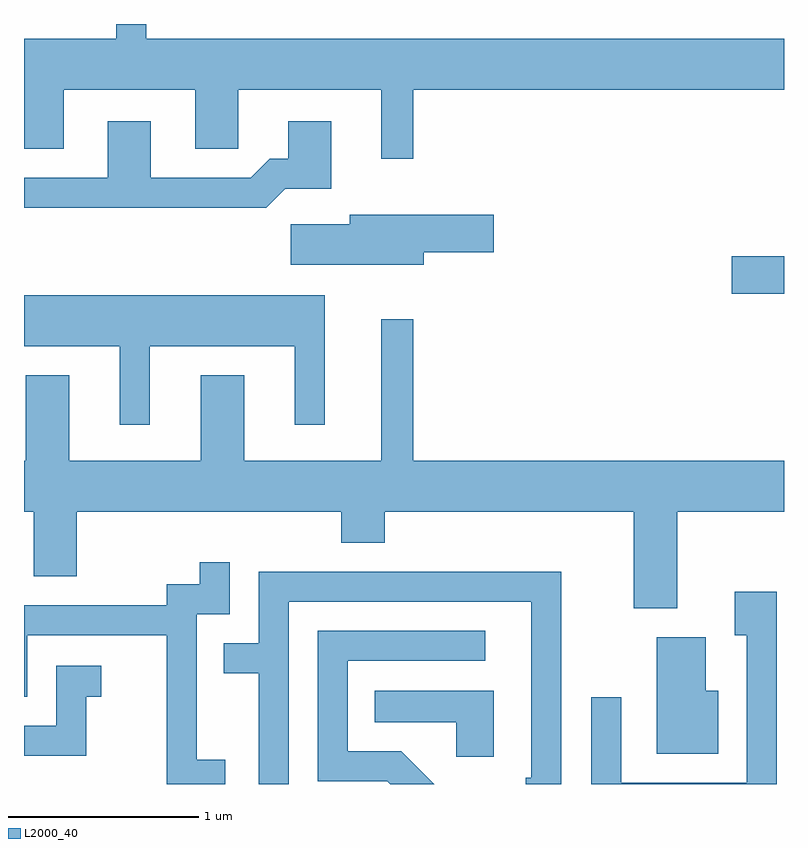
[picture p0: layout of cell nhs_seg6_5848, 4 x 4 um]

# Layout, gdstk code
import gdstk
lib = gdstk.Library(unit=1e-6, precision=1e-09)
def R(c, l, rs):  # rectangles x0, y0, x1, y1
    for r in rs: c.add(gdstk.rectangle(r[:2], r[2:], *l))
def P(c, l, *ps):  # polygons
    for p in ps: c.add(gdstk.Polygon(p, *l))
L2000_40 = (2000, 40)

nhs_seg6_5848 = lib.new_cell('nhs_seg6_5848')
R(nhs_seg6_5848, L2000_40, [(367.336,1546.741,367.611,1546.939)])
P(nhs_seg6_5848, L2000_40, [(365.659,1547.816),(367.611,1547.816),(367.611,1548.084),(364.254,1548.084),(364.254,1548.162),(364.096,1548.162),(364.096,1548.084),(363.611,1548.084),(363.611,1547.506),(363.819,1547.506),(363.819,1547.816),(364.511,1547.816),(364.511,1547.506),(364.739,1547.506),(364.739,1547.816),(365.491,1547.816),(365.491,1547.453),(365.659,1547.453)],
  [(364.987,1547.296),(365.229,1547.296),(365.229,1547.649),(365.001,1547.649),(365.001,1547.454),(364.904,1547.454),(364.804,1547.354),(364.279,1547.354),(364.279,1547.649),(364.051,1547.649),(364.051,1547.354),(363.611,1547.354),(363.611,1547.196),(364.887,1547.196)],
  [(365.714,1546.961),(366.084,1546.961),(366.084,1547.159),(365.326,1547.159),(365.326,1547.109),(365.016,1547.109),(365.016,1546.896),(365.714,1546.896)],
  [(364.274,1546.466),(365.036,1546.466),(365.036,1546.053),(365.194,1546.053),(365.194,1546.734),(363.611,1546.734),(363.611,1546.466),(364.116,1546.466),(364.116,1546.053),(364.274,1546.053)],
  [(367.049,1545.596),(367.611,1545.596),(367.611,1545.864),(365.659,1545.864),(365.659,1546.608),(365.491,1546.608),(365.491,1545.864),(364.769,1545.864),(364.769,1546.314),(364.541,1546.314),(364.541,1545.864),(363.849,1545.864),(363.849,1546.314),(363.621,1546.314),(363.621,1545.864),(363.611,1545.864),(363.611,1545.596),(363.661,1545.596),(363.661,1545.256),(363.889,1545.256),(363.889,1545.596),(365.281,1545.596),(365.281,1545.431),(365.509,1545.431),(365.509,1545.596),(366.821,1545.596),(366.821,1545.086),(367.049,1545.086)],
  [(364.669,1544.289),(364.519,1544.289),(364.519,1545.056),(364.694,1545.056),(364.694,1545.328),(364.536,1545.328),(364.536,1545.214),(364.361,1545.214),(364.361,1545.104),(363.611,1545.104),(363.611,1544.621),(363.629,1544.621),(363.629,1544.946),(364.361,1544.946),(364.361,1544.162),(364.669,1544.162)],
  [(365.004,1545.121),(366.281,1545.121),(366.281,1544.194),(366.251,1544.194),(366.251,1544.162),(366.439,1544.162),(366.439,1545.279),(364.846,1545.279),(364.846,1544.904),(364.663,1544.904),(364.663,1544.746),(364.846,1544.746),(364.846,1544.162),(365.004,1544.162)],
  [(367.574,1545.174),(367.351,1545.174),(367.351,1544.946),(367.416,1544.946),(367.416,1544.169),(366.754,1544.169),(366.754,1544.618),(366.596,1544.618),(366.596,1544.162),(367.574,1544.162)],
  [(365.597,1544.334),(365.314,1544.334),(365.314,1544.811),(366.038,1544.811),(366.038,1544.969),(365.156,1544.969),(365.156,1544.176),(365.524,1544.176),(365.538,1544.162),(365.769,1544.162)],
  [(367.264,1544.654),(367.199,1544.654),(367.199,1544.934),(366.941,1544.934),(366.941,1544.321),(367.264,1544.321)],
  [(363.939,1544.621),(364.018,1544.621),(364.018,1544.784),(363.781,1544.784),(363.781,1544.469),(363.611,1544.469),(363.611,1544.311),(363.939,1544.311)],
  [(366.084,1544.654),(365.458,1544.654),(365.458,1544.486),(365.886,1544.486),(365.886,1544.306),(366.084,1544.306)])

lib.write_gds('nhs_seg6_5848.gds')
